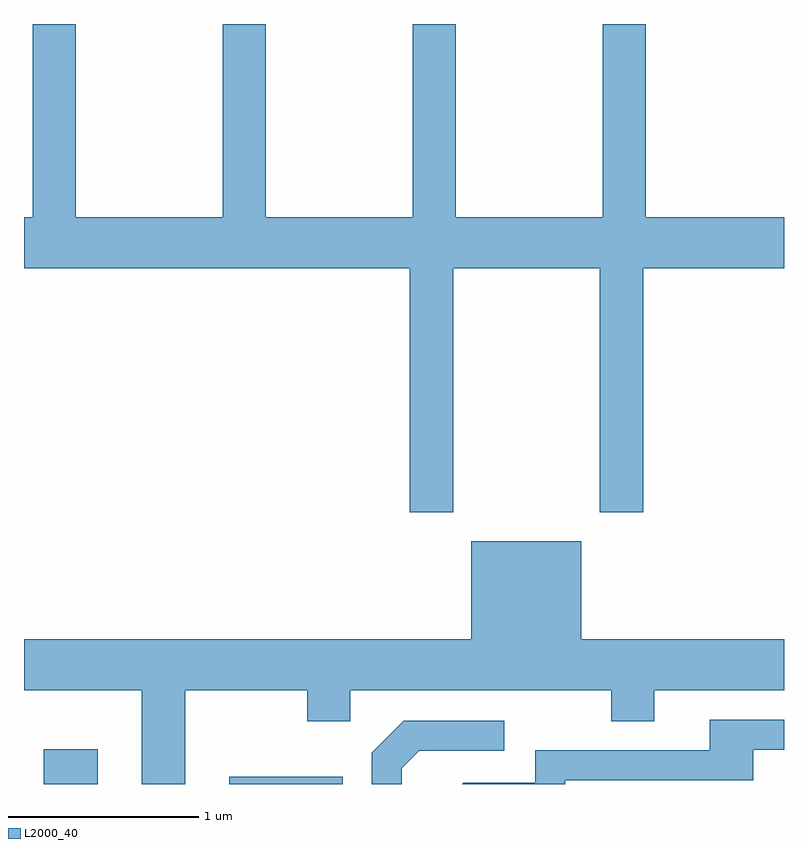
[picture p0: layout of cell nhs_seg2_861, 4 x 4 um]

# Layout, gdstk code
import gdstk
lib = gdstk.Library(unit=1e-6, precision=1e-09)
def R(c, l, rs):  # rectangles x0, y0, x1, y1
    for r in rs: c.add(gdstk.rectangle(r[:2], r[2:], *l))
def P(c, l, *ps):  # polygons
    for p in ps: c.add(gdstk.Polygon(p, *l))
L2000_40 = (2000, 40)

nhs_seg2_861 = lib.new_cell('nhs_seg2_861')
R(nhs_seg2_861, L2000_40, [(209.716,1067.802,209.999,1067.984), (210.691,1067.802,211.289,1067.839)])
P(nhs_seg2_861, L2000_40, [(211.869,1070.516),(212.641,1070.516),(212.641,1069.231),(212.869,1069.231),(212.869,1070.516),(213.611,1070.516),(213.611,1070.784),(212.884,1070.784),(212.884,1071.802),(212.656,1071.802),(212.656,1070.784),(211.884,1070.784),(211.884,1071.802),(211.656,1071.802),(211.656,1070.784),(210.884,1070.784),(210.884,1071.802),(210.656,1071.802),(210.656,1070.784),(209.884,1070.784),(209.884,1071.802),(209.656,1071.802),(209.656,1070.784),(209.611,1070.784),(209.611,1070.516),(211.641,1070.516),(211.641,1069.231),(211.869,1069.231)],
  [(210.459,1068.296),(211.101,1068.296),(211.101,1068.131),(211.329,1068.131),(211.329,1068.296),(212.701,1068.296),(212.701,1068.131),(212.929,1068.131),(212.929,1068.296),(213.611,1068.296),(213.611,1068.564),(212.544,1068.564),(212.544,1069.079),(211.966,1069.079),(211.966,1068.564),(209.611,1068.564),(209.611,1068.296),(210.231,1068.296),(210.231,1067.802),(210.459,1067.802)],
  [(212.459,1067.821),(213.449,1067.821),(213.449,1067.981),(213.611,1067.981),(213.611,1068.139),(213.221,1068.139),(213.221,1067.979),(212.301,1067.979),(212.301,1067.809),(211.924,1067.809),(211.917,1067.802),(212.459,1067.802)],
  [(211.599,1067.884),(211.692,1067.976),(212.138,1067.976),(212.138,1068.134),(211.609,1068.134),(211.441,1067.967),(211.441,1067.802),(211.599,1067.802)])

lib.write_gds('nhs_seg2_861.gds')
